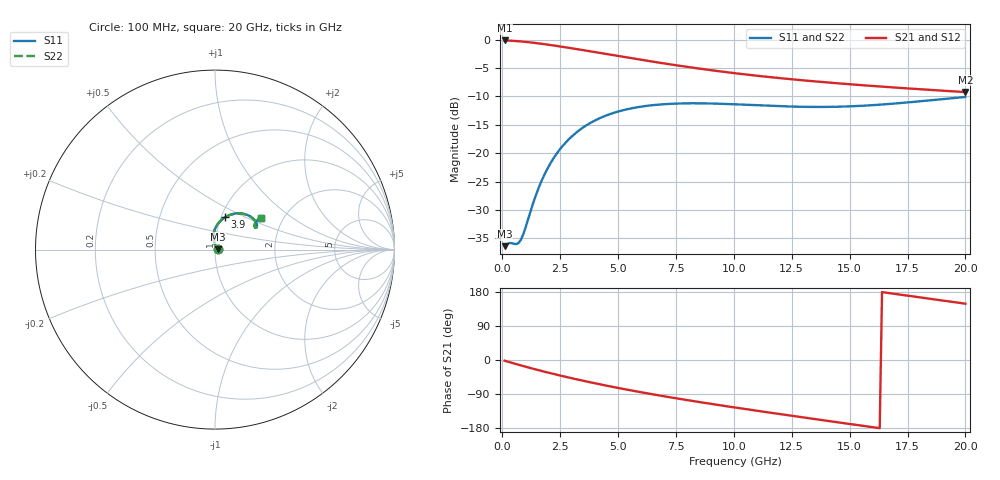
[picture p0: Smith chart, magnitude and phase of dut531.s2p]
! Touchstone file exported from HFSS 2024.1.0
!  File:  C:/UserFiles/LocalFiles/RDL_TSV_Batchsim/temp_RDL_TSV_531_1779744688.aedt
!  Generated:  05:48:25 AM May 26, 2026
!  Design:  RDL_TSV
!  Project:  temp_RDL_TSV_531_1779744688
!  Setup:  Setup1
!  Solution:  Sweep
! Variables:
!  dtsv = 11.01um
!  hbump = 3um
!  htsv = 58.2um
!  ldown = 657.72um
!  lrdl = 316.46um
!  p = 40
!  p1 = 50.1um
!  rhole = 10um
!  subl = 3239um
!  t = 450um
!  tdown = 3.39um
!  trdl = 3.52um
!  viad = 10um
!  wdown = 25.88um
!  wrdl = 19.69um
!  xbump = 18um
# GHz S MA R 50.000000
! Terminal data exported
! Port[1] = TM1_1_T1
! Port[2] = TM1_4_T1
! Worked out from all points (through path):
!   200 points, 100 MHz to 20 GHz, reference 50 ohm
!   highest |S21| = -0.14 dB at 100 MHz (marker M1); lowest = -9.2 dB at 20 GHz (marker M2)
!   group delay of S21, straight-line fit = 27.7 ps
!   lowest |S11| = -36.4 dB at 100 MHz (marker M3), VSWR 1.03, Z = 51.5 + j0.237 ohm
!   |S11| at or under -10 dB: start of sweep to end of sweep
!   |S22| runs from -36.4 to -10.1 dB; largest |S21 - S12| = 4.4e-14
!   S11 on the Smith chart (normalised r, x): 100 MHz: 1.03, +0.00; 3.9 GHz: 1.05, +0.39; 20 GHz: 1.55, +0.61
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0.1  0.01522 8.7  0.9845 -1.9  0.9845 -1.9  0.01522 8.7
! Gamma 0 0 0 0
! Port Impedance 50 0 50 0
0.3  0.01621 20.6  0.9809 -5.5  0.9809 -5.5  0.01621 20.6
0.6  0.01588 41.6  0.9726 -10.8  0.9726 -10.8  0.01589 41.5
0.8  0.01727 62.5  0.9654 -14.2  0.9654 -14.2  0.01728 62.3
1  0.02206 80.7  0.957 -17.6  0.957 -17.6  0.02204 80.5
1.5  0.04552 97.8  0.9316 -25.8  0.9316 -25.8  0.04542 97.6
1.7  0.05742 98.4  0.9202 -29.0  0.9202 -29.0  0.05728 98.2
2  0.07646 96.8  0.9024 -33.6  0.9024 -33.6  0.07627 96.7
2.3  0.09609 93.7  0.8839 -38.1  0.8839 -38.1  0.09583 93.6
2.7  0.122 88.6  0.8589 -43.9  0.8589 -43.9  0.1217 88.5
3.5  0.1693 77.7  0.8088 -54.9  0.8088 -54.9  0.1688 77.6
3.9  0.1897 72.5  0.7842 -60.1  0.7842 -60.1  0.1891 72.4
4.5  0.2156 65.3  0.7481 -67.7  0.7481 -67.7  0.2149 65.2
5.2  0.239 57.8  0.7081 -76.1  0.7081 -76.1  0.2381 57.7
6.8  0.2687 44.2  0.6265 -93.8  0.6265 -93.8  0.2676 44.1
8.4  0.2754 35.1  0.5604 -109.9  0.5604 -109.9  0.2741 35.0
10.1  0.2697 29.6  0.5053 -125.8  0.5053 -125.8  0.2682 29.6
11.7  0.2611 27.9  0.465 -140.2  0.465 -140.2  0.2596 27.9
13.4  0.2559 28.9  0.4312 -155.0  0.4312 -155.0  0.2544 29.0
15  0.2589 31.2  0.4053 -168.8  0.4053 -168.8  0.2575 31.4
16.7  0.2716 33.6  0.3822 176.6  0.3822 176.6  0.2704 33.8
20  0.3131 34.6  0.3457 148.6  0.3457 148.6  0.3121 34.8
